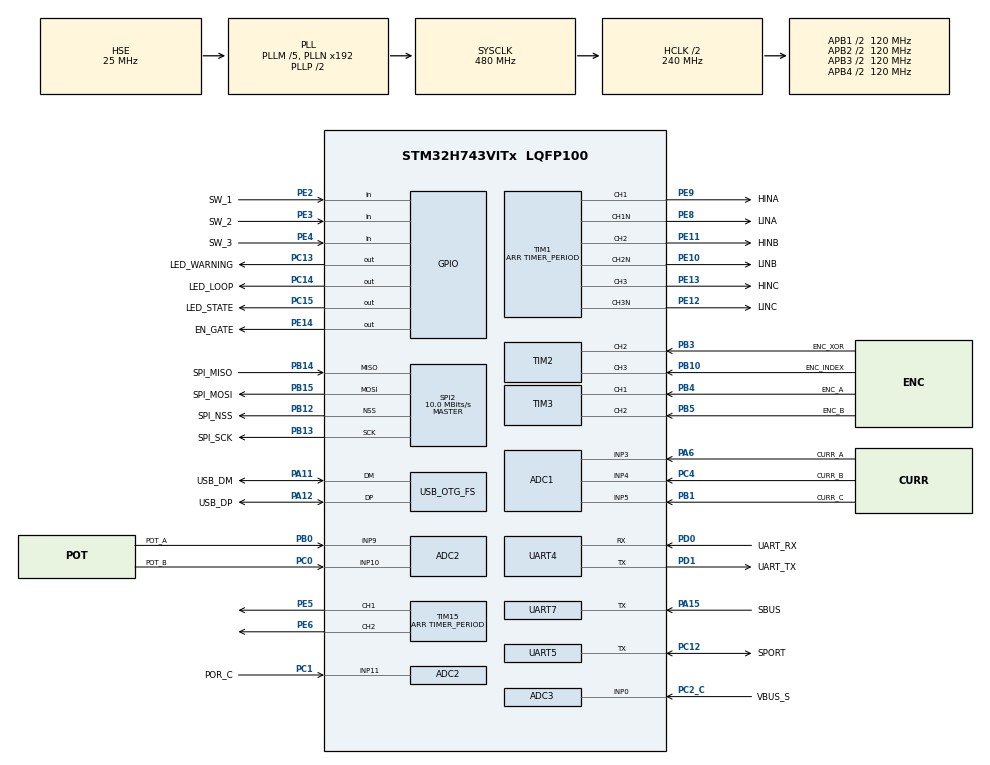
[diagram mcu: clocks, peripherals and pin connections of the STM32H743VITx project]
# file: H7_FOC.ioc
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ADC1.EnableInjectedConversion=ENABLE
ADC1.EnableRegularConversion=DISABLE
ADC1.ExternalTrigInjecConv=ADC_EXTERNALTRIGINJEC_T15_TRGO
ADC1.ExternalTrigInjecConvEdge=ADC_EXTERNALTRIGINJECCONV_EDGE_RISINGFALLING
ADC1.InjNumberOfConversion=2
ADC1.InjectedChannel-1\#ChannelInjectedConversion=ADC_CHANNEL_5
ADC1.InjectedChannel-2\#ChannelInjectedConversion=ADC_CHANNEL_4
ADC1.InjectedOffsetNumber-1\#ChannelInjectedConversion=ADC_OFFSET_NONE
ADC1.InjectedOffsetNumber-2\#ChannelInjectedConversion=ADC_OFFSET_NONE
ADC1.InjectedOffsetSaturation-1\#ChannelInjectedConversion=DISABLE
ADC1.InjectedOffsetSaturation-2\#ChannelInjectedConversion=DISABLE
ADC1.InjectedOffsetSignedSaturation-1\#ChannelInjectedConversion=DISABLE
ADC1.InjectedOffsetSignedSaturation-2\#ChannelInjectedConversion=DISABLE
ADC1.InjectedRank-1\#ChannelInjectedConversion=1
ADC1.InjectedRank-2\#ChannelInjectedConversion=2
ADC1.InjectedSamplingTime-1\#ChannelInjectedConversion=ADC_SAMPLETIME_2CYCLES_5
ADC1.InjectedSamplingTime-2\#ChannelInjectedConversion=ADC_SAMPLETIME_2CYCLES_5
ADC1.master=1
ADC2.Channel-0\#ChannelRegularConversion=ADC_CHANNEL_9
ADC2.Channel-1\#ChannelRegularConversion=ADC_CHANNEL_10
ADC2.Channel-2\#ChannelRegularConversion=ADC_CHANNEL_11
ADC2.ContinuousConvMode=ENABLE
ADC2.ConversionDataManagement=ADC_CONVERSIONDATA_DMA_CIRCULAR
ADC2.NbrOfConversion=3
ADC2.NbrOfConversionFlag=1
ADC2.OffsetNumber-0\#ChannelRegularConversion=ADC_OFFSET_NONE
ADC2.OffsetNumber-1\#ChannelRegularConversion=ADC_OFFSET_NONE
ADC2.OffsetNumber-2\#ChannelRegularConversion=ADC_OFFSET_NONE
ADC2.OffsetSignedSaturation-0\#ChannelRegularConversion=DISABLE
ADC2.OffsetSignedSaturation-1\#ChannelRegularConversion=DISABLE
ADC2.OffsetSignedSaturation-2\#ChannelRegularConversion=DISABLE
ADC2.Rank-0\#ChannelRegularConversion=1
ADC2.Rank-1\#ChannelRegularConversion=2
ADC2.Rank-2\#ChannelRegularConversion=3
ADC2.SamplingTime-0\#ChannelRegularConversion=ADC_SAMPLETIME_32CYCLES_5
ADC2.SamplingTime-1\#ChannelRegularConversion=ADC_SAMPLETIME_32CYCLES_5
ADC2.SamplingTime-2\#ChannelRegularConversion=ADC_SAMPLETIME_32CYCLES_5
ADC3.Channel-0\#ChannelRegularConversion=ADC_CHANNEL_0
ADC3.Channel-1\#ChannelRegularConversion=ADC_CHANNEL_VREFINT
ADC3.Channel-2\#ChannelRegularConversion=ADC_CHANNEL_TEMPSENSOR
ADC3.ContinuousConvMode=ENABLE
ADC3.ConversionDataManagement=ADC_CONVERSIONDATA_DMA_CIRCULAR
ADC3.NbrOfConversion=3
ADC3.NbrOfConversionFlag=1
ADC3.OffsetNumber-0\#ChannelRegularConversion=ADC_OFFSET_NONE
ADC3.OffsetNumber-1\#ChannelRegularConversion=ADC_OFFSET_NONE
ADC3.OffsetNumber-2\#ChannelRegularConversion=ADC_OFFSET_NONE
ADC3.OffsetSignedSaturation-0\#ChannelRegularConversion=DISABLE
ADC3.OffsetSignedSaturation-1\#ChannelRegularConversion=DISABLE
ADC3.OffsetSignedSaturation-2\#ChannelRegularConversion=DISABLE
ADC3.Rank-0\#ChannelRegularConversion=1
ADC3.Rank-1\#ChannelRegularConversion=2
ADC3.Rank-2\#ChannelRegularConversion=3
ADC3.SamplingTime-0\#ChannelRegularConversion=ADC_SAMPLETIME_32CYCLES_5
ADC3.SamplingTime-1\#ChannelRegularConversion=ADC_SAMPLETIME_32CYCLES_5
ADC3.SamplingTime-2\#ChannelRegularConversion=ADC_SAMPLETIME_32CYCLES_5
Bdma.ADC3.0.Direction=DMA_PERIPH_TO_MEMORY
Bdma.ADC3.0.EventEnable=DISABLE
Bdma.ADC3.0.Instance=BDMA_Channel0
Bdma.ADC3.0.MemDataAlignment=DMA_MDATAALIGN_HALFWORD
Bdma.ADC3.0.MemInc=DMA_MINC_ENABLE
Bdma.ADC3.0.Mode=DMA_CIRCULAR
Bdma.ADC3.0.PeriphDataAlignment=DMA_PDATAALIGN_HALFWORD
Bdma.ADC3.0.PeriphInc=DMA_PINC_DISABLE
Bdma.ADC3.0.Polarity=HAL_DMAMUX_REQ_GEN_RISING
Bdma.ADC3.0.Priority=DMA_PRIORITY_HIGH
Bdma.ADC3.0.RequestNumber=1
Bdma.ADC3.0.SignalID=NONE
Bdma.ADC3.0.SyncEnable=DISABLE
Bdma.ADC3.0.SyncPolarity=HAL_DMAMUX_SYNC_NO_EVENT
Bdma.ADC3.0.SyncRequestNumber=1
Bdma.ADC3.0.SyncSignalID=NONE
Bdma.Request0=ADC3
Bdma.RequestsNb=1
CORTEX_M7.AccessPermission_S-Cortex_Memory_Protection_Unit_Region1_Settings_S=MPU_REGION_FULL_ACCESS
CORTEX_M7.AccessPermission_S-Cortex_Memory_Protection_Unit_Region2_Settings_S=MPU_REGION_FULL_ACCESS
CORTEX_M7.AccessPermission_S-Cortex_Memory_Protection_Unit_Region3_Settings_S=MPU_REGION_FULL_ACCESS
CORTEX_M7.AccessPermission_Spec=MPU_REGION_FULL_ACCESS
CORTEX_M7.BaseAddress_S-Cortex_Memory_Protection_Unit_Region1_Settings_S=0x30000000
CORTEX_M7.BaseAddress_S-Cortex_Memory_Protection_Unit_Region2_Settings_S=0x38000000
CORTEX_M7.BaseAddress_S-Cortex_Memory_Protection_Unit_Region3_Settings_S=0x20000000
CORTEX_M7.BaseAddress_Spec=0x24000000
CORTEX_M7.CPU_DCache=Enabled
CORTEX_M7.CPU_ICache=Enabled
CORTEX_M7.DisableExec_S-Cortex_Memory_Protection_Unit_Region1_Settings_S=MPU_INSTRUCTION_ACCESS_DISABLE
CORTEX_M7.DisableExec_S-Cortex_Memory_Protection_Unit_Region2_Settings_S=MPU_INSTRUCTION_ACCESS_DISABLE
CORTEX_M7.Enable_S-Cortex_Memory_Protection_Unit_Region1_Settings_S=MPU_REGION_ENABLE
CORTEX_M7.Enable_S-Cortex_Memory_Protection_Unit_Region2_Settings_S=MPU_REGION_ENABLE
CORTEX_M7.Enable_S-Cortex_Memory_Protection_Unit_Region3_Settings_S=MPU_REGION_ENABLE
CORTEX_M7.IsBufferable_S-Cortex_Memory_Protection_Unit_Region1_Settings_S=MPU_ACCESS_BUFFERABLE
CORTEX_M7.IsBufferable_S-Cortex_Memory_Protection_Unit_Region2_Settings_S=MPU_ACCESS_BUFFERABLE
CORTEX_M7.IsBufferable_S-Cortex_Memory_Protection_Unit_Region3_Settings_S=MPU_ACCESS_BUFFERABLE
CORTEX_M7.IsBufferable_Spec=MPU_ACCESS_BUFFERABLE
CORTEX_M7.IsCacheable_S-Cortex_Memory_Protection_Unit_Region3_Settings_S=MPU_ACCESS_CACHEABLE
CORTEX_M7.IsShareable_S-Cortex_Memory_Protection_Unit_Region1_Settings_S=MPU_ACCESS_SHAREABLE
CORTEX_M7.IsShareable_S-Cortex_Memory_Protection_Unit_Region2_Settings_S=MPU_ACCESS_SHAREABLE
CORTEX_M7.Size_S-Cortex_Memory_Protection_Unit_Region1_Settings_S=MPU_REGION_SIZE_256KB
CORTEX_M7.Size_S-Cortex_Memory_Protection_Unit_Region2_Settings_S=MPU_REGION_SIZE_64KB
CORTEX_M7.Size_S-Cortex_Memory_Protection_Unit_Region3_Settings_S=MPU_REGION_SIZE_128KB
CORTEX_M7.Size_Spec=MPU_REGION_SIZE_512KB
CORTEX_M7.SubRegionDisable_Spec=0x00
CORTEX_M7.default_mode_Activation=1
Dma.ADC2.0.Direction=DMA_PERIPH_TO_MEMORY
Dma.ADC2.0.EventEnable=DISABLE
Dma.ADC2.0.FIFOMode=DMA_FIFOMODE_DISABLE
Dma.ADC2.0.Instance=DMA1_Stream0
Dma.ADC2.0.MemDataAlignment=DMA_MDATAALIGN_HALFWORD
Dma.ADC2.0.MemInc=DMA_MINC_ENABLE
Dma.ADC2.0.Mode=DMA_CIRCULAR
Dma.ADC2.0.PeriphDataAlignment=DMA_PDATAALIGN_HALFWORD
Dma.ADC2.0.PeriphInc=DMA_PINC_DISABLE
Dma.ADC2.0.Polarity=HAL_DMAMUX_REQ_GEN_RISING
Dma.ADC2.0.Priority=DMA_PRIORITY_LOW
Dma.ADC2.0.RequestNumber=1
Dma.ADC2.0.SignalID=NONE
Dma.ADC2.0.SyncEnable=DISABLE
Dma.ADC2.0.SyncPolarity=HAL_DMAMUX_SYNC_NO_EVENT
Dma.ADC2.0.SyncRequestNumber=1
Dma.ADC2.0.SyncSignalID=NONE
Dma.Request0=ADC2
Mcu.Family=STM32H7
Mcu.Name=STM32H743VITx
Mcu.Package=LQFP100
Mcu.UserConstants=START_PERIOD,0;DEAD_TIME,50;TIMER_ADC_CCR,(TIMER_PERIOD - TIMER_ADC_DELTA);TIMER_ADC_DELTA,24;TIMER_PERIOD,5000;INPUT_FILTER,4;TIMER_PRESCALER,0;TIMER_REPETICION_COUNTER,0
NVIC.OTG_FS_IRQn=true\:0\:0\:false\:false\:true\:false\:true\:true
NVIC.PriorityGroup=NVIC_PRIORITYGROUP_4
NVIC.TIM1_UP_IRQn=true\:0\:0\:false\:false\:true\:true\:true\:true
PA11.GPIO_Label=USB_DM
PA11.Mode=Device_Only
PA11.Signal=USB_OTG_FS_DM
PA12.GPIO_Label=USB_DP
PA12.Mode=Device_Only
PA12.Signal=USB_OTG_FS_DP
PA13\ (JTMS/SWDIO).GPIO_Label=SWDIO
PA13\ (JTMS/SWDIO).Mode=Serial_Wire
PA13\ (JTMS/SWDIO).Signal=DEBUG_JTMS-SWDIO
PA14\ (JTCK/SWCLK).GPIO_Label=SWCLK
PA14\ (JTCK/SWCLK).Mode=Serial_Wire
PA14\ (JTCK/SWCLK).Signal=DEBUG_JTCK-SWCLK
PA15\ (JTDI).GPIO_Label=SBUS
PA15\ (JTDI).Mode=Half_duplex(single_wire_mode)
PA15\ (JTDI).Signal=UART7_TX
PA6.GPIO_Label=CURR_A
PA6.Signal=ADCx_INP3
PB0.GPIO_Label=POT_A
PB0.Signal=ADCx_INP9
PB1.GPIO_Label=CURR_C
PB1.Signal=ADCx_INP5
PB10.GPIO_Label=ENC_INDEX
PB10.Signal=S_TIM2_CH3
PB12.GPIO_Label=SPI_NSS
PB12.Mode=NSS_Signal_Hard_Output
PB12.Signal=SPI2_NSS
PB13.GPIO_Label=SPI_SCK
PB13.Mode=Full_Duplex_Master
PB13.Signal=SPI2_SCK
PB14.GPIO_Label=SPI_MISO
PB14.Mode=Full_Duplex_Master
PB14.Signal=SPI2_MISO
PB15.GPIO_Label=SPI_MOSI
PB15.Mode=Full_Duplex_Master
PB15.Signal=SPI2_MOSI
PB3\ (JTDO/TRACESWO).GPIO_Label=ENC_XOR
PB3\ (JTDO/TRACESWO).Signal=S_TIM2_CH2
PB4\ (NJTRST).GPIO_Label=ENC_A
PB4\ (NJTRST).Signal=S_TIM3_CH1
PB5.GPIO_Label=ENC_B
PB5.Signal=S_TIM3_CH2
PC0.GPIO_Label=POT_B
PC0.Signal=ADCx_INP10
PC1.GPIO_Label=POR_C
PC1.Signal=ADCx_INP11
PC12.GPIO_Label=SPORT
PC12.Mode=Half_duplex(single_wire_mode)
PC12.Signal=UART5_TX
PC13.GPIO_Label=LED_WARNING
PC13.Signal=GPIO_Output
PC14-OSC32_IN\ (OSC32_IN).GPIO_Label=LED_LOOP
PC14-OSC32_IN\ (OSC32_IN).Signal=GPIO_Output
PC15-OSC32_OUT\ (OSC32_OUT).GPIO_Label=LED_STATE
PC15-OSC32_OUT\ (OSC32_OUT).Signal=GPIO_Output
PC2_C.GPIO_Label=VBUS_S
PC2_C.Mode=IN0-Single-Ended
PC2_C.Signal=ADC3_INP0
PC4.GPIO_Label=CURR_B
PC4.Signal=ADCx_INP4
PD0.GPIO_Label=UART_RX
PD0.Mode=Asynchronous
PD0.Signal=UART4_RX
PD1.GPIO_Label=UART_TX
PD1.Mode=Asynchronous
PD1.Signal=UART4_TX
PE10.GPIO_Label=LINB
PE10.GPIO_PuPd=GPIO_PULLDOWN
PE10.GPIO_Speed=GPIO_SPEED_FREQ_VERY_HIGH
PE10.Mode=PWM Generation2 CH2 CH2N
PE10.Signal=TIM1_CH2N
PE11.GPIO_Label=HINB
PE11.GPIO_PuPd=GPIO_PULLDOWN
PE11.GPIO_Speed=GPIO_SPEED_FREQ_VERY_HIGH
PE11.Signal=S_TIM1_CH2
PE12.GPIO_Label=LINC
PE12.GPIO_PuPd=GPIO_PULLDOWN
PE12.GPIO_Speed=GPIO_SPEED_FREQ_VERY_HIGH
PE12.Mode=PWM Generation3 CH3 CH3N
PE12.Signal=TIM1_CH3N
PE13.GPIO_Label=HINC
PE13.GPIO_PuPd=GPIO_PULLDOWN
PE13.GPIO_Speed=GPIO_SPEED_FREQ_VERY_HIGH
PE13.Signal=S_TIM1_CH3
PE14.GPIO_Label=EN_GATE
PE14.GPIO_PuPd=GPIO_PULLDOWN
PE14.GPIO_Speed=GPIO_SPEED_FREQ_VERY_HIGH
PE14.Signal=GPIO_Output
PE2.GPIO_Label=SW_1
PE2.Signal=GPIO_Input
PE3.GPIO_Label=SW_2
PE3.Signal=GPIO_Input
PE4.GPIO_Label=SW_3
PE4.Signal=GPIO_Input
PE5.Signal=S_TIM15_CH1
PE6.Signal=S_TIM15_CH2
PE8.GPIO_Label=LINA
PE8.GPIO_PuPd=GPIO_PULLDOWN
PE8.GPIO_Speed=GPIO_SPEED_FREQ_VERY_HIGH
PE8.Mode=PWM Generation1 CH1 CH1N
PE8.Signal=TIM1_CH1N
PE9.GPIO_Label=HINA
PE9.GPIO_PuPd=GPIO_PULLDOWN
PE9.GPIO_Speed=GPIO_SPEED_FREQ_VERY_HIGH
PE9.Signal=S_TIM1_CH1
PH0-OSC_IN\ (PH0).GPIO_Label=OSC_IN
PH0-OSC_IN\ (PH0).Mode=HSE-External-Oscillator
PH0-OSC_IN\ (PH0).Signal=RCC_OSC_IN
PH1-OSC_OUT\ (PH1).GPIO_Label=OSC_OUT
PH1-OSC_OUT\ (PH1).Mode=HSE-External-Oscillator
PH1-OSC_OUT\ (PH1).Signal=RCC_OSC_OUT
ProjectManager.HeapSize=0x200
ProjectManager.StackSize=0x400
ProjectManager.TargetToolchain=Makefile
RCC.ADCFreq_Value=36000000
RCC.APB1Freq_Value=120000000
RCC.APB2Freq_Value=120000000
RCC.APB3Freq_Value=120000000
RCC.APB4Freq_Value=120000000
RCC.CortexFreq_Value=480000000
RCC.D1PPRE=RCC_APB3_DIV2
RCC.D2PPRE1=RCC_APB1_DIV2
RCC.D2PPRE2=RCC_APB2_DIV2
RCC.D3PPRE=RCC_APB4_DIV2
RCC.DIVM1=5
RCC.DIVM2=2
RCC.DIVM3=2
RCC.DIVN1=192
RCC.DIVN2=72
RCC.DIVN3=16
RCC.DIVP2=25
RCC.DIVP3=10
RCC.DIVQ1=20
RCC.DIVQ3=20
RCC.DIVR3=40
RCC.EnbaleCSS=true
RCC.HCLKFreq_Value=240000000
RCC.HPRE=RCC_HCLK_DIV2
RCC.PLLSourceVirtual=RCC_PLLSOURCE_HSE
RCC.SPI123CLockSelection=RCC_SPI123CLKSOURCE_PLL3
RCC.SYSCLKFreq_VALUE=480000000
RCC.SYSCLKSource=RCC_SYSCLKSOURCE_PLLCLK
RCC.USBFreq_Value=48000000
SH.ADCx_INP10.0=ADC2_INP10,IN10-Single-Ended
SH.ADCx_INP11.0=ADC2_INP11,IN11-Single-Ended
SH.ADCx_INP3.0=ADC1_INP3,IN3-Single-Ended
SH.ADCx_INP4.0=ADC1_INP4,IN4-Single-Ended
SH.ADCx_INP5.0=ADC1_INP5,IN5-Single-Ended
SH.ADCx_INP9.0=ADC2_INP9,IN9-Single-Ended
SH.S_TIM15_CH1.0=TIM15_CH1,Output Compare1 CH1
SH.S_TIM15_CH2.0=TIM15_CH2,Output Compare2 CH2
SH.S_TIM1_CH1.0=TIM1_CH1,PWM Generation1 CH1 CH1N
SH.S_TIM1_CH2.0=TIM1_CH2,PWM Generation2 CH2 CH2N
SH.S_TIM1_CH3.0=TIM1_CH3,PWM Generation3 CH3 CH3N
SH.S_TIM2_CH2.0=TIM2_CH2,Input_Capture2_from_TI2
SH.S_TIM2_CH3.0=TIM2_CH3,Input_Capture3_from_TI3
SH.S_TIM3_CH1.0=TIM3_CH1,Encoder_Interface
SH.S_TIM3_CH2.0=TIM3_CH2,Encoder_Interface
SPI2.CalculateBaudRate=10.0 MBits/s
SPI2.DataSize=SPI_DATASIZE_8BIT
SPI2.Direction=SPI_DIRECTION_2LINES
SPI2.Mode=SPI_MODE_MASTER
SPI2.VirtualNSS=VM_NSSHARD
SPI2.VirtualType=VM_MASTER
STMicroelectronics.X-CUBE-ALGOBUILD.1.4.0.LibraryCcDSPOoLibraryJjDSPOoLibrary=true
TIM1.Channel-PWM\ Generation1\ CH1\ CH1N=TIM_CHANNEL_1
TIM1.Channel-PWM\ Generation2\ CH2\ CH2N=TIM_CHANNEL_2
TIM1.Channel-PWM\ Generation3\ CH3\ CH3N=TIM_CHANNEL_3
TIM1.CounterMode=TIM_COUNTERMODE_CENTERALIGNED3
TIM1.DeadTime=DEAD_TIME
TIM1.OCNIdleState_3=TIM_OCNIDLESTATE_RESET
TIM1.OffStateIDLEMode=TIM_OSSI_ENABLE
TIM1.OffStateRunMode=TIM_OSSR_ENABLE
TIM1.Period=TIMER_PERIOD
TIM1.Prescaler=TIMER_PRESCALER
TIM1.Pulse-PWM\ Generation1\ CH1\ CH1N=START_PERIOD
TIM1.Pulse-PWM\ Generation2\ CH2\ CH2N=START_PERIOD
TIM1.Pulse-PWM\ Generation3\ CH3\ CH3N=START_PERIOD
TIM1.RepetitionCounter=TIMER_REPETICION_COUNTER
TIM1.TIM_MasterOutputTrigger=TIM_TRGO_UPDATE
TIM1.TIM_MasterSlaveMode=TIM_MASTERSLAVEMODE_ENABLE
TIM15.Channel-Output\ Compare1\ CH1=TIM_CHANNEL_1
TIM15.Channel-Output\ Compare2\ CH2=TIM_CHANNEL_2
TIM15.OCMode_1=TIM_OCMODE_TOGGLE
TIM15.OCMode_2=TIM_OCMODE_TOGGLE
TIM15.Period=TIMER_PERIOD
TIM15.Prescaler=TIMER_PRESCALER
TIM15.Pulse-Output\ Compare1\ CH1=TIMER_ADC_CCR
TIM15.RepetitionCounter=TIMER_REPETICION_COUNTER
TIM15.TIM_MasterOutputTrigger=TIM_TRGO_OC1
TIM15.TIM_MasterSlaveMode=TIM_MASTERSLAVEMODE_ENABLE
TIM2.Channel-Input_Capture1_from_TRC=TIM_CHANNEL_1
TIM2.Channel-Input_Capture2_from_TI2=TIM_CHANNEL_2
TIM2.Channel-Input_Capture3_from_TI3=TIM_CHANNEL_3
TIM2.ICFilter_CH2=INPUT_FILTER
TIM2.ICFilter_CH3=INPUT_FILTER
TIM2.ICPolarity_CH2=TIM_INPUTCHANNELPOLARITY_BOTHEDGE
TIM3.EncoderMode=TIM_ENCODERMODE_TI12
TIM3.IC1Filter=INPUT_FILTER
TIM3.IC2Filter=INPUT_FILTER
UART5.BaudRate=57600
UART5.DataInvertParam=UART_ADVFEATURE_DATAINV_ENABLE
UART5.RxPinLevelInvertParam=UART_ADVFEATURE_RXINV_ENABLE
UART5.TxPinLevelInvertParam=UART_ADVFEATURE_TXINV_ENABLE
UART7.BaudRate=100000 
UART7.DataInvertParam=UART_ADVFEATURE_DATAINV_ENABLE
UART7.Mode=MODE_RX
UART7.Parity=PARITY_EVEN
UART7.RxPinLevelInvertParam=UART_ADVFEATURE_RXINV_ENABLE
UART7.StopBits=UART_STOPBITS_2
UART7.TxPinLevelInvertParam=UART_ADVFEATURE_TXINV_ENABLE
USB_DEVICE.CLASS_NAME_FS=CDC
USB_DEVICE.USBD_MAX_STR_DESC_SIZ-CDC_FS=2048
USB_DEVICE.VirtualMode-CDC_FS=Cdc
USB_DEVICE.VirtualModeFS=Cdc_FS
USB_OTG_FS.VirtualMode=Device_Only
VP_ADC3_TempSens_Input.Mode=IN-TempSens
VP_ADC3_Vref_Input.Mode=IN-Vrefint
VP_MEMORYMAP_VS_MEMORYMAP.Mode=CurAppReg
VP_STMicroelectronics.X-CUBE-ALGOBUILD_VS_DSPOoLibraryJjLibrary_1.4.0_1.4.0.Mode=DSPOoLibraryJjLibrary
VP_TIM15_VS_ClockSourceINT.Mode=Internal
VP_TIM15_VS_ClockSourceITR.Mode=TriggerSource_ITR0
VP_TIM15_VS_ControllerModeCombinedResetTrigger.Mode=Combined_Reset_Trigger_Mode
VP_TIM1_VS_ClockSourceINT.Mode=Internal
VP_TIM2_VS_CH1.Mode=Input_Capture1_from_TRC
VP_TIM2_VS_ClockSourceINT.Mode=Internal
VP_TIM2_VS_ClockSourceITR.Mode=TriggerSource_ITR0
VP_USB_DEVICE_VS_USB_DEVICE_CDC_FS.Mode=CDC_FS
VP_VREFBUF_V_VREFBUF.Mode=ExternalMode
board=custom

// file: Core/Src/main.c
/* USER CODE BEGIN Header */
/**
 ******************************************************************************
 * @file           : main.c
 * @brief          : Main program body
 ******************************************************************************
 * @attention
 *
 * Copyright (c) 2024 STMicroelectronics.
 * All rights reserved.
 *
 * This software is licensed under terms that can be found in the LICENSE file
 * in the root directory of this software component.
 * If no LICENSE file comes with this software, it is provided AS-IS.
 *
 ******************************************************************************
 */
/* USER CODE END Header */
#include "main.h"
#include "adc.h"
#include "bdma.h"
#include "dma.h"
#include "memorymap.h"
#include "spi.h"
#include "tim.h"
#include "usart.h"
#include "usb_device.h"
#include "gpio.h"

/* USER CODE BEGIN Includes */
#include <stdio.h>
#include <stdint.h>

#include "usbd_cdc_if.h"
#include "arm_math.h"

#include "state_machine.h"

#include "board.h"
#include "util.h"
#include "FOC.h"
#include "PID.h"
#include "debug.h"

#include "encoder.h"
#include "current.h"

/* USER CODE END Includes */

/* USER CODE BEGIN PV */

SM_t SM = {0};
tick_t TIMER_TICK = {0};
EncoderSystem ENCODER = {0};
CurrentSystem CURRENT = {0};
float Ibus;

ControllerDQ_t CURRENT_CONTROLLER = {0};
PIController_t VELOCITY_CONTROLLER = {0};
// PIDController_t VELOCITY_CONTROLLER = {0};

SVM_data_t SVM = {0};
bool PWM_EN = false;

uint16_t ADC2_DMA[ADC2_DMA_SAMPLES] __ATTR_RAM_D2 = {0};
uint16_t ADC3_DMA[ADC3_DMA_SAMPLES] __ATTR_RAM_D3 = {0};

ADCSystem ADC_VBUS = {0};
float Vbus;

ADCSystem ADC_POT_A = {0};
float POT_A = 0.0f;

ADCSystem ADC_POT_B = {0};
float POT_B = 0.0f;

ADCSystem ADC_POT_C = {0};
float POT_C = 0.0f;

ButtonDebounce_t SW1 = {0};
ButtonDebounce_t SW2 = {0};
ButtonDebounce_t SW3 = {0};

#ifdef EN_DEBUG
debug_data_t debug_data __ATTR_RAM_D1 = {0};
#endif

extern USBD_HandleTypeDef hUsbDeviceFS;
/* USER CODE END PV */

void SystemClock_Config(void);
void PeriphCommonClock_Config(void);
static void MPU_Config(void);
/* USER CODE BEGIN PFP */
void Enable_TIM1_PWM(void);
void Disable_TIM1_PWM(void);
void SM_force_stop(void);
uint8_t USB_Is_Connected(void);
/* USER CODE END PFP */

int main(void)
{

  /* MPU Configuration--------------------------------------------------------*/
  MPU_Config();

  /* Enable the CPU Cache */

  /* Enable I-Cache---------------------------------------------------------*/
  SCB_EnableICache();

  /* Enable D-Cache---------------------------------------------------------*/
  SCB_EnableDCache();

  /* MCU Configuration--------------------------------------------------------*/

  /* Reset of all peripherals, Initializes the Flash interface and the Systick. */
  HAL_Init();

  /* Configure the system clock */
  SystemClock_Config();

  /* Configure the peripherals common clocks */
  PeriphCommonClock_Config();

  /* Initialize all configured peripherals */
  MX_GPIO_Init();
  MX_BDMA_Init();
  MX_DMA_Init();
  MX_TIM1_Init();
  MX_TIM2_Init();
  MX_TIM3_Init();
  MX_ADC1_Init();
  MX_USB_DEVICE_Init();
  MX_ADC3_Init();
  MX_TIM15_Init();
  MX_SPI2_Init();
  MX_UART4_Init();
  MX_UART5_Init();
  MX_UART7_Init();
  MX_ADC2_Init();
  /* USER CODE BEGIN 2 */
  if (USB_Is_Connected())
  {
    HAL_Delay(1000);
    printf("INICIO de configuracion\n");
  }

  setup_ADC(&ADC_VBUS, VBUS_CTO * ADC_VREF, 0.0f, 1000.0f);

  setup_ADC(&ADC_POT_A, 2.0f, 0.5f, 10.0f);
  setup_ADC(&ADC_POT_B, 2.0f, 0.5f, 10.0f);
  setup_ADC(&ADC_POT_C, 2.0f, 0.5f, 10.0f);

  calculate_alpha((float)TIMER_IT_FREC, 8000.0f, &ENCODER.filter_global_theta);
  calculate_alpha((float)TIMER_IT_FREC, 500.0f, &ENCODER.filter_speed);
  calculate_alpha((float)TIMER_IT_FREC, 8000.0f, &ENCODER.filter_acceleration);

  calculate_alpha((float)TIMER_IT_FREC, (float)CURRENT_FILTER_CUT_FREC, &CURRENT.phase_A.filter);
  calculate_alpha((float)TIMER_IT_FREC, (float)CURRENT_FILTER_CUT_FREC, &CURRENT.phase_B.filter);
  calculate_alpha((float)TIMER_IT_FREC, (float)CURRENT_FILTER_CUT_FREC, &CURRENT.phase_C.filter);

  calculate_alpha((float)TIMER_IT_FREC, (float)CURRENT_FILTER_CUT_FREC, &CURRENT.filter_alpha);
  calculate_alpha((float)TIMER_IT_FREC, (float)CURRENT_FILTER_CUT_FREC, &CURRENT.filter_beta);

  calculate_alpha((float)TIMER_IT_FREC, 800.0f, &CURRENT.filter_d);
  calculate_alpha((float)TIMER_IT_FREC, 800.0f, &CURRENT.filter_q);

  calculate_alpha((float)TIMER_IT_FREC, 8000.0f, &CURRENT.filter_bus);

  SetupControllerDQ(&CURRENT_CONTROLLER, CURRENT_P_GAIN, CURRENT_I_GAIN);
  SetupPIController(&VELOCITY_CONTROLLER, VELOCITY_P_GAIN, VELOCITY_I_GAIN);
  // SetupPIDController(&VELOCITY_CONTROLLER, VELOCITY_P_GAIN, VELOCITY_I_GAIN,VELOCITY_D_GAIN);

  InitButtonDebounce(&SW1, &TIMER_TICK, SW_1_GPIO_Port, SW_1_Pin, ONE_MS_TICK * 20);
  InitButtonDebounce(&SW2, &TIMER_TICK, SW_2_GPIO_Port, SW_2_Pin, ONE_MS_TICK * 20);
  InitButtonDebounce(&SW3, &TIMER_TICK, SW_3_GPIO_Port, SW_3_Pin, ONE_MS_TICK * 20);

  Disable_TIM1_PWM();

  HAL_TIM_PWM_Start(&htim1, TIM_CHANNEL_1);
  HAL_TIMEx_PWMN_Start(&htim1, TIM_CHANNEL_1);
  HAL_TIM_PWM_Start(&htim1, TIM_CHANNEL_2);
  HAL_TIMEx_PWMN_Start(&htim1, TIM_CHANNEL_2);
  HAL_TIM_PWM_Start(&htim1, TIM_CHANNEL_3);
  HAL_TIMEx_PWMN_Start(&htim1, TIM_CHANNEL_3);

  HAL_GPIO_WritePin(EN_GATE_GPIO_Port, EN_GATE_Pin, GPIO_PIN_RESET);

  Disable_TIM1_PWM();

  HAL_TIM_Encoder_Start(&htim3, TIM_CHANNEL_ALL);

  HAL_TIM_OC_Start(&htim2, TIM_CHANNEL_1); // tiempo update TIM1
  HAL_TIM_OC_Start(&htim2, TIM_CHANNEL_2); // está conectado a una compuerta XOR entre los pineas A y B del encoder y registra el tiempo en los cambios del encoder
  HAL_TIM_OC_Start(&htim2, TIM_CHANNEL_3); // tiempo encoder index

  HAL_TIM_OC_Start(&htim15, TIM_CHANNEL_1);
  HAL_TIM_OC_Start(&htim15, TIM_CHANNEL_2);

  HAL_ADCEx_Calibration_Start(&hadc1, ADC_CALIB_OFFSET, ADC_SINGLE_ENDED);
  // HAL_ADCEx_Calibration_Start(&hadc1, ADC_CALIB_OFFSET_LINEARITY, ADC_SINGLE_ENDED);
  HAL_ADCEx_InjectedStart(&hadc1); // medicien de corriente en fase

  HAL_ADCEx_Calibration_Start(&hadc2, ADC_CALIB_OFFSET, ADC_SINGLE_ENDED);
  // HAL_ADCEx_Calibration_Start(&hadc2, ADC_CALIB_OFFSET_LINEARITY, ADC_SINGLE_ENDED);
  HAL_ADC_Start_DMA(&hadc2, (uint32_t *)ADC2_DMA, ADC2_DMA_SAMPLES); // potenciometros

  HAL_ADCEx_Calibration_Start(&hadc3, ADC_CALIB_OFFSET, ADC_SINGLE_ENDED);
  // HAL_ADCEx_Calibration_Start(&hadc3, ADC_CALIB_OFFSET_LINEARITY, ADC_SINGLE_ENDED);
  HAL_ADC_Start_DMA(&hadc3, (uint32_t *)ADC3_DMA, ADC3_DMA_SAMPLES); // voltaje de bus, Vref e IC temp

  SM_clear_task(&SM);
  HAL_Delay(1);
  HAL_TIM_Base_Start_IT(&htim1);

  if (USB_Is_Connected())
    printf("FIN de configuracion\n");

#ifdef EN_DEBUG
  if (USB_Is_Connected())
  {
    printf("Debug Buffer len: %u\n", DEBUG_DATA_LEN);
    printf("Debug Data Size: %u\n", DEBUG_DATA_SIZE);
    printf("Packet Size: %u\n", PACKET_SIZE);
  }
  debug_data.EN_write = false;
  debug_data.EN_read = false;
#endif

  if (USB_Is_Connected())
  {
    printf("\n1/tau: %.10lf\n", CURRENT_FILTER_CUT_FREC);
    printf("P_GAIN: %.10lf\n", CURRENT_P_GAIN);
    printf("I_GAIN: %.10lf\n\n", CURRENT_I_GAIN);
  }

  SM_add_task(&SM, START_SECUENCE);
  HAL_Delay(1);
  SM_wait_IDLE(&SM);
  HAL_Delay(1);

  if (USB_Is_Connected())
  {
    printf("OFFSET_IA: %ld / OFFSET_IB: %ld / OFFSET_IC: %ld / Vbus: %.8f\n", CURRENT.phase_A.OFFSET, CURRENT.phase_B.OFFSET, CURRENT.phase_C.OFFSET, Vbus);
    HAL_Delay(5000);
  }

  /* USER CODE END 2 */

  /* Infinite loop */
  /* USER CODE BEGIN WHILE */
  while (1)
  {

    if (DebounceButton(&SW1) && SM.STATE != IDLE)
    {
      SM_force_stop();

      if (USB_Is_Connected())
        printf("SW1: STOP PWM\n");
    }

    if (DebounceButton(&SW2))
    {
      if (SM.STATE == IDLE)
      {
        //SM_add_task(&SM, START_PWM);

        SM_add_task(&SM, TEST_SVM_SIGNALS);
        // SM_add_task(&SM, TEST_PHASE);
        // SM_add_task(&SM, TEST_ANGLE_OPEN_LOOP);
        // SM_add_task(&SM, TEST_OPEN_LOOP);
        // SM_add_task(&SM, TEST_ENCODER_OPEN_LOOP);
        // SM_add_task(&SM, TEST_CLOSE_LOOP);
        // SM_add_task(&SM, TEST_VELOCITY_CLOSE_LOOP);
        if (USB_Is_Connected())
          printf("SW2: START PWM\n");
      }
#ifdef EN_DEBUG
      else
      {
        if (USB_Is_Connected())
          if (!debug_data.EN_write && !debug_data.EN_read)
          {
            printf("activando debug...\n");
            HAL_Delay(100);
            debug_data.first_index = 0;
            debug_data.last_index = 0;
            debug_data.EN_write = true;
            HAL_Delay(1);
            debug_data.EN_read = true;
          }
      }
#endif
    }

    if (DebounceButton(&SW3))
    {
      if (SM.STATE == IDLE)
      {
        SM_add_task(&SM, CALIB_SECUENCE);
        HAL_Delay(1);
        SM_wait_IDLE(&SM);
        HAL_Delay(100);
        if (USB_Is_Connected())
          printf("Encoder OFFSET: %.9f - Index OFFSER:%ld\n", ENCODER.OFFSET, (int32_t)ENCODER.RAW_BASE_POS);
        // HAL_Delay(5000);
      }
    }

#ifdef EN_DEBUG
    if (debug_data.EN_read)
    {
      debug_data.last_index = (debug_data.last_index + 1) % DEBUG_DATA_LEN;
      if (!debug_data.EN_write && debug_data.last_index == debug_data.first_index)
      {
        debug_data.EN_read = false;
        printf("FIN debug\n");
      }
      else
      {
        send_debug_data(&debug_data);
      }
    }
    else
    {
#endif
      static int64_t last_tick = 0;
      int64_t current_tick = TIMER_TICK.full;
      if (current_tick - last_tick >= ONE_MS_TICK * 100)
      {
        last_tick = current_tick;

        // printf("SM:%2d - encoder:%6.02f - Vbus:%7.03f - POT_A:%6.03f - POT_B:%6.03f - POT_C:%6.03f - I_A:%6.02f - I_B:%6.02f\n", SM.STATE, ENCODER.filter_global_theta.value, Vbus, POT_A, POT_B, POT_C, CURRENT.phase_A.filter.value, CURRENT.phase_B.filter.value);
        // printf("SM:%2d\n", SM.STATE);
        if (USB_Is_Connected())
        {
          switch (SM.STATE)
          {
          case IDLE:
            printf("Vbus:%8.03f - encoder:%8.03f - POT_A:%8.03f - POT_B:%8.03f - POT_C:%8.03f\n", Vbus, ENCODER.filter_global_theta.value, POT_A, POT_B, POT_C);
            break;

          case TEST_OPEN_LOOP:
          case TEST_ANGLE_OPEN_LOOP:
          case TEST_ENCODER_OPEN_LOOP:
            printf("Vbus:%6.02f - I_q:%6.02f - I_d:%6.02f - encoder:%8.03f - speed:%8.02f - SVM_q:%8.03f - SVM_d:%8.03f - SVM_theta:%8.03f - POT_A:%8.03f - POT_B:%8.03f - POT_C:%8.03f\n", Vbus, CURRENT.filter_q.value, CURRENT.filter_d.value, ENCODER.filter_global_theta.value, ENCODER.speed, SVM.Vq, SVM.Vd, SVM.theta / (float)MOTOR_POLE_PAIR, POT_A, POT_B, POT_C);
            break;

          case TEST_CLOSE_LOOP:
            printf("Vbus:%6.02f - I_q:%6.02f - I_d:%6.02f - encoder:%8.03f - speed:%8.02f - CI_q:%8.03f - CI_d:%8.03f\n", Vbus, CURRENT.filter_q.value, CURRENT.filter_d.value, ENCODER.filter_global_theta.value, ENCODER.speed, CURRENT_CONTROLLER.q.set_point, CURRENT_CONTROLLER.d.set_point);
            break;

          case TEST_VELOCITY_CLOSE_LOOP:
            printf("Vbus:%6.02f - I_q:%6.02f - I_d:%6.02f - encoder:%8.03f - speed:%8.02f - RPM:%8d - V_set:%8.03f - CI_q:%8.03f - CI_d:%8.03f\n", Vbus, CURRENT.filter_q.value, CURRENT.filter_d.value, ENCODER.filter_global_theta.value, ENCODER.speed, (int)(ENCODER.speed * 60.0), VELOCITY_CONTROLLER.set_point, CURRENT_CONTROLLER.q.set_point, CURRENT_CONTROLLER.d.set_point);
            break;

          default:
            printf("Vbus:%8.03f - I_A:%8.03f - I_B:%8.03f - I_C:%8.03f - encoder:%8.05f - speed:%8.05f - POT_A:%8.03f - POT_B:%8.03f - POT_C:%8.03f\n", Vbus, CURRENT.phase_A.filter.value, CURRENT.phase_B.filter.value, CURRENT.phase_C.filter.value, ENCODER.filter_global_theta.value, ENCODER.speed, POT_A, POT_B, POT_C);
            break;
          }
        }
      }
#ifdef EN_DEBUG
    }
#endif
    /* USER CODE END WHILE */

  }
}

void SystemClock_Config(void)
{
  RCC_OscInitTypeDef RCC_OscInitStruct = {0};
  RCC_ClkInitTypeDef RCC_ClkInitStruct = {0};

  /** Supply configuration update enable
  */
  HAL_PWREx_ConfigSupply(PWR_LDO_SUPPLY);

  /** Configure the main internal regulator output voltage
  */
  __HAL_PWR_VOLTAGESCALING_CONFIG(PWR_REGULATOR_VOLTAGE_SCALE1);

  while(!__HAL_PWR_GET_FLAG(PWR_FLAG_VOSRDY)) {}

  __HAL_RCC_SYSCFG_CLK_ENABLE();
  __HAL_PWR_VOLTAGESCALING_CONFIG(PWR_REGULATOR_VOLTAGE_SCALE0);

  while(!__HAL_PWR_GET_FLAG(PWR_FLAG_VOSRDY)) {}

  /** Initializes the RCC Oscillators according to the specified parameters
  * in the RCC_OscInitTypeDef structure.
  */
  RCC_OscInitStruct.OscillatorType = RCC_OSCILLATORTYPE_HSE;
  RCC_OscInitStruct.HSEState = RCC_HSE_ON;
  RCC_OscInitStruct.PLL.PLLState = RCC_PLL_ON;
  RCC_OscInitStruct.PLL.PLLSource = RCC_PLLSOURCE_HSE;
  RCC_OscInitStruct.PLL.PLLM = 5;
  RCC_OscInitStruct.PLL.PLLN = 192;
  RCC_OscInitStruct.PLL.PLLP = 2;
  RCC_OscInitStruct.PLL.PLLQ = 20;
  RCC_OscInitStruct.PLL.PLLR = 2;
  RCC_OscInitStruct.PLL.PLLRGE = RCC_PLL1VCIRANGE_2;
  RCC_OscInitStruct.PLL.PLLVCOSEL = RCC_PLL1VCOWIDE;
  RCC_OscInitStruct.PLL.PLLFRACN = 0;
  if (HAL_RCC_OscConfig(&RCC_OscInitStruct) != HAL_OK)
  {
    Error_Handler();
  }

  /** Initializes the CPU, AHB and APB buses clocks
  */
  RCC_ClkInitStruct.ClockType = RCC_CLOCKTYPE_HCLK|RCC_CLOCKTYPE_SYSCLK
                              |RCC_CLOCKTYPE_PCLK1|RCC_CLOCKTYPE_PCLK2
                              |RCC_CLOCKTYPE_D3PCLK1|RCC_CLOCKTYPE_D1PCLK1;
  RCC_ClkInitStruct.SYSCLKSource = RCC_SYSCLKSOURCE_PLLCLK;
  RCC_ClkInitStruct.SYSCLKDivider = RCC_SYSCLK_DIV1;
  RCC_ClkInitStruct.AHBCLKDivider = RCC_HCLK_DIV2;
  RCC_ClkInitStruct.APB3CLKDivider = RCC_APB3_DIV2;
  RCC_ClkInitStruct.APB1CLKDivider = RCC_APB1_DIV2;
  RCC_ClkInitStruct.APB2CLKDivider = RCC_APB2_DIV2;
  RCC_ClkInitStruct.APB4CLKDivider = RCC_APB4_DIV2;

  if (HAL_RCC_ClockConfig(&RCC_ClkInitStruct, FLASH_LATENCY_4) != HAL_OK)
  {
    Error_Handler();
  }

  /** Enables the Clock Security System
  */
  HAL_RCC_EnableCSS();
}

void PeriphCommonClock_Config(void)
{
  RCC_PeriphCLKInitTypeDef PeriphClkInitStruct = {0};

  /** Initializes the peripherals clock
  */
  PeriphClkInitStruct.PeriphClockSelection = RCC_PERIPHCLK_ADC;
  PeriphClkInitStruct.PLL2.PLL2M = 2;
  PeriphClkInitStruct.PLL2.PLL2N = 72;
  PeriphClkInitStruct.PLL2.PLL2P = 25;
  PeriphClkInitStruct.PLL2.PLL2Q = 2;
  PeriphClkInitStruct.PLL2.PLL2R = 2;
  PeriphClkInitStruct.PLL2.PLL2RGE = RCC_PLL2VCIRANGE_3;
  PeriphClkInitStruct.PLL2.PLL2VCOSEL = RCC_PLL2VCOWIDE;
  PeriphClkInitStruct.PLL2.PLL2FRACN = 0;
  PeriphClkInitStruct.AdcClockSelection = RCC_ADCCLKSOURCE_PLL2;
  if (HAL_RCCEx_PeriphCLKConfig(&PeriphClkInitStruct) != HAL_OK)
  {
    Error_Handler();
  }
}

/* USER CODE BEGIN 4 */

void HAL_TIM_PeriodElapsedCallback(TIM_HandleTypeDef *htim)
{
  if (htim->Instance == TIM1)
  {
    HAL_GPIO_WritePin(LED_LOOP_GPIO_Port, LED_LOOP_Pin, GPIO_PIN_SET);

    uint16_t RAW_ENCODER_POS = htim3.Instance->CNT;
    uint32_t RAW_ENCODER_UPDATE_TICK = htim2.Instance->CCR2;
    uint32_t RAW_ENCODER_INDEX_TICK = htim2.Instance->CCR3;
    uint32_t RAW_TIMER_TICK = htim2.Instance->CCR1;

    UPDATE_TIMER_TICK(TIMER_TICK, RAW_TIMER_TICK);

    bool encoder_is_update = UpdateTick(&ENCODER.UPDATE_TICK, RAW_ENCODER_UPDATE_TICK, &TIMER_TICK);
    bool index_is_update = UpdateTick(&ENCODER.INDEX_TICK, RAW_ENCODER_INDEX_TICK, &TIMER_TICK);

    update_encoder(&ENCODER, RAW_ENCODER_POS, TIMER_TICK.full);

    update_ADC(&ADC_VBUS, ADC3_DMA[0]);
    Vbus = ADC_VBUS.filter_value.value;

    update_ADC(&ADC_POT_A, ADC2_DMA[0]);
    POT_A = ABS_min_constrain(ADC_POT_A.filter_value.value, 0.02f);

    update_ADC(&ADC_POT_B, ADC2_DMA[1]);
    POT_B = ABS_min_constrain(ADC_POT_B.filter_value.value, 0.02f);

    update_ADC(&ADC_POT_C, ADC2_DMA[2]);
    POT_C = ABS_min_constrain(ADC_POT_C.filter_value.value, 0.02f);

    uint16_t RAW_A = HAL_ADCEx_InjectedGetValue(&hadc1, ADC_INJECTED_RANK_1);
    uint16_t RAW_B = HAL_ADCEx_InjectedGetValue(&hadc1, ADC_INJECTED_RANK_2);
    update_current_sensor(&CURRENT, RAW_A, RAW_B, SVM.theta);
    Ibus = CURRENT.filter_bus.value;

    if ((Vbus <= 10.0f && SM.STATE != TEST_SVM_SIGNALS) && (SVM.EN || PWM_EN))
    {
      SM_force_stop();
    }

    if (SM.STATE == IDLE && !SM_is_empty(&SM))
    {
      SM_update_task(&SM);
    }

    if (!__HAL_TIM_IS_TIM_COUNTING_DOWN(&htim1))
    {
      HAL_GPIO_WritePin(LED_WARNING_GPIO_Port, LED_WARNING_Pin, GPIO_PIN_RESET);

      static uint64_t UTIL_SM_TIME = 0;
      switch (SM.STATE)
      {
      case IDLE:
        if (PWM_EN)
        {
          SM_force_stop();
        }
        break;

      case START_PWM:
      {
        static bool start_flag = false;
        static int start_wait_count = 0;
        if (!start_flag)
        {
          htim1.Instance->CCR1 = 0;
          htim1.Instance->CCR2 = 0;
          htim1.Instance->CCR3 = 0;

          Enable_TIM1_PWM();

          start_flag = true;
          start_wait_count = 10;

          PWM_EN = false;
          SVM.EN = false;
        }
        else
        {
          start_wait_count--;

          if (start_wait_count <= 0)
          {
            ResetPIController(&VELOCITY_CONTROLLER);
            ResetControllerDQ(&CURRENT_CONTROLLER);
            start_flag = false;
            PWM_EN = true;
            SM_update_task(&SM);
          }
          else if (start_wait_count <= 2)
          {
            HAL_GPIO_WritePin(EN_GATE_GPIO_Port, EN_GATE_Pin, GPIO_PIN_SET);
          }
        }
        break;
      }

      case STOP_PWM:
      {
        static bool stop_flag = false;
        static int stop_wait_count = 0;
        if (!stop_flag)
        {
          htim1.Instance->CCR1 = 0;
          htim1.Instance->CCR2 = 0;
          htim1.Instance->CCR3 = 0;

          stop_flag = true;
          stop_wait_count = 10;

          PWM_EN = false;
          SVM.EN = false;
        }
        else
        {
          stop_wait_count--;

          if (stop_wait_count <= 0)
          {
            stop_flag = false;
            Disable_TIM1_PWM();
            SM_update_task(&SM);
          }
          else if (stop_wait_count <= 2)
          {
            HAL_GPIO_WritePin(EN_GATE_GPIO_Port, EN_GATE_Pin, GPIO_PIN_RESET);
          }
        }
        break;
      }

      case START_SECUENCE:
        // SM_add_task(&SM, START_PWM);
        SM_add_task(&SM, ADC_OFFSET_CALIB);
        // SM_add_task(&SM, STOP_PWM);

        UTIL_SM_TIME = TIMER_TICK.full;

        SM_update_task(&SM);
        break;

      case ADC_OFFSET_CALIB:
        update_current_offset(&CURRENT, RAW_A, RAW_B, false);

        if (TIMER_TICK.full - UTIL_SM_TIME >= ONE_MS_TICK * 50)
        {
          update_current_offset(&CURRENT, RAW_A, RAW_B, true);
          UTIL_SM_TIME = TIMER_TICK.full;
          SM_update_task(&SM);
        }
        break;

      case CALIB_SECUENCE:
        SM_add_task(&SM, START_PWM);
        SM_add_task(&SM, GO_INDEX);

#ifndef OFFSET_HOME
        SM_add_task(&SM, OFFSET_CALIB);
        ENCODER.OFFSET = 0.0f;
#endif

        SM_add_task(&SM, STOP_PWM);

        SVM.Vq = 0.0f;
        SVM.Vd = 0.0f;
        SVM.DIR = 1;
        SVM.EN = false;

        if (ENCODER.OFFSET == 0.0f)
          SVM.theta = 0.0f;
        else
          SVM.theta = ENCODER.electric_theta;

        UTIL_SM_TIME = TIMER_TICK.full;

        SM_update_task(&SM);
        break;

      case GO_INDEX:
        SVM.EN = true;
        SVM.Vq = CALIB_VOLTAGE_q;
        SVM.Vd = CALIB_VOLTAGE_d;
        if (index_is_update)
        {
          update_index_offset(&ENCODER);

          UTIL_SM_TIME = TIMER_TICK.full;

#ifdef OFFSET_HOME
          ENCODER.OFFSET = OFFSET_HOME;
#else
          SVM.theta = 0.0f;
          SVM.DIR = 1;
#endif

          SM_update_task(&SM);
        }
        else
        {
          SVM.theta += CALIB_ELECTRIC_SPEED * (float)TIMER_IT_PERIOD * TIMER_TIME_PERIOD;
        }
        break;

      case OFFSET_CALIB:
      {
        if (encoder_is_update && ((SVM.DIR && ENCODER.speed > CALIB_SPEED * 0.95f && ENCODER.speed < CALIB_SPEED * 1.05f) || (!SVM.DIR && ENCODER.speed < CALIB_SPEED * 0.95f && ENCODER.speed > -CALIB_SPEED * 1.05f)))
        {
          update_encoder_offset(&ENCODER, SVM.theta, SVM.DIR, false);
        }

        if (SVM.DIR && ENCODER.global_theta >= 1.0f)
        {
          SVM.DIR = 0;
        }
        else if (!SVM.DIR && ENCODER.global_theta <= 0.0f)
        {
          update_encoder_offset(&ENCODER, SVM.theta, SVM.DIR, true);
          SM_update_task(&SM);
        }

        SVM.EN = true;
        SVM.Vq = CALIB_VOLTAGE_q;
        SVM.Vd = CALIB_VOLTAGE_d;

        SVM.theta += (SVM.DIR ? CALIB_ELECTRIC_SPEED : -CALIB_ELECTRIC_SPEED) * (float)TIMER_IT_PERIOD * TIMER_TIME_PERIOD;
        break;
      }
      case TEST_SVM_SIGNALS:
      {
        if (PWM_EN)
        {
          SVM.theta = SVM.theta + (15.0f / 360.0f);
          if(SVM.theta >= 1.0f)
            SVM.theta = 0.0f;

          SVM.Vq = 1.0f;
          SVM.Vd = 0.0;

          InverseParkAndSVM(&SVM, 2.0);
        }
        else
        {
          HAL_GPIO_WritePin(EN_GATE_GPIO_Port, EN_GATE_Pin, GPIO_PIN_RESET);
          Enable_TIM1_PWM();
          PWM_EN = 1;
          SVM.EN = 0;
        }
        break;
      }

      case TEST_PHASE:
        SVM.EN = false;
        SVM.tA = 0.5f;
        SVM.tB = 0.5f;
        SVM.tC = 0.5f;

        float set_V = POT_A;
        float set_time = (set_V / Vbus) / 2.0f;
        // float set_time = POT_A / 2.0f;

        SVM.tA -= set_time;
        SVM.tB += set_time;
        SVM.tC -= set_time;
        break;

      case TEST_ANGLE_OPEN_LOOP:
      {
        SVM.EN = true;

        SVM.theta = POT_C * (float)MOTOR_POLE_PAIR;

        SVM.Vq = POT_A * 5.0f;
        SVM.Vd = POT_B * 5.0f;

        break;
      }

      case TEST_OPEN_LOOP:
      {
        SVM.EN = true;

        SVM.theta += POT_C * 100.0 * (float)TIMER_IT_PERIOD * TIMER_TIME_PERIOD * (float)MOTOR_POLE_PAIR;
        SVM.theta = circular_constrain(SVM.theta);

        SVM.Vq = POT_A * 5.0f;
        SVM.Vd = POT_B * 5.0f;

        break;
      }

      case TEST_ENCODER_OPEN_LOOP:
      {
        SVM.EN = true;

        if (debug_data.EN_read)
        {
          // SVM.Vq = POT_A * 10.0f;
          // SVM.Vd = POT_B * 10.0f;
          SVM.Vq = 1.0f;
          SVM.Vd = 0.0f;
        }
        else
        {
          SVM.Vq = 0.0f;
          SVM.Vd = 0.0f;
        }

        if ((SVM.Vq > 0.0f && ENCODER.speed > 0.0f) || (SVM.Vq < 0.0f && ENCODER.speed < 0.0f))
        {
          int64_t dt = (TIMER_TICK.full + TIMER_IT_PERIOD * 3) - ENCODER.UPDATE_TICK.full;
          float dt_time = (float)dt * TIMER_TIME_PERIOD;
          SVM.theta = (ENCODER.theta + (ENCODER.speed * dt_time)) * (float)MOTOR_POLE_PAIR;
          SVM.theta = circular_constrain(SVM.theta);
        }
        else
        {
          SVM.theta = ENCODER.theta * (float)MOTOR_POLE_PAIR;
        }

        break;
      }
      case TEST_CLOSE_LOOP:
      {
        SVM.EN = true;

        UpdateControllerDQ(&CURRENT_CONTROLLER, &CURRENT, POT_B * 4.0f, POT_A * 4.0f, Vbus);

        if ((CURRENT_CONTROLLER.q.set_point > 0.0f && ENCODER.speed > 0.0f) || (CURRENT_CONTROLLER.q.set_point < 0.0f && ENCODER.speed < 0.0f))
        {
          int64_t dt = (TIMER_TICK.full + TIMER_IT_PERIOD * 3) - ENCODER.UPDATE_TICK.full;
          double dt_time = (double)dt * TIMER_TIME_PERIOD;
          SVM.theta = (ENCODER.theta + (ENCODER.speed * dt_time)) * (float)MOTOR_POLE_PAIR;
        }
        else
        {
          SVM.theta = ENCODER.theta * (float)MOTOR_POLE_PAIR;
        }

        SVM.theta = circular_constrain(SVM.theta);

        SVM.Vd = CURRENT_CONTROLLER.d.output;
        SVM.Vq = CURRENT_CONTROLLER.q.output;
        break;
      }
      case TEST_VELOCITY_CLOSE_LOOP:
      {
        SVM.EN = true;

        UpdatePIController(&VELOCITY_CONTROLLER, POT_A * 200.0f + POT_B * 5.0, ENCODER.filter_speed.value, VELOCITY_MAX_CURRENT);
        UpdateControllerDQ(&CURRENT_CONTROLLER, &CURRENT, POT_C * 4.0f, VELOCITY_CONTROLLER.output, Vbus);

        if ((VELOCITY_CONTROLLER.set_point > 0.0f && ENCODER.speed > 0.0f) || (VELOCITY_CONTROLLER.set_point < 0.0f && ENCODER.speed < 0.0f))
        {
          int64_t dt = (TIMER_TICK.full + TIMER_IT_PERIOD * 6) - ENCODER.UPDATE_TICK.full;
          double dt_time = (double)dt * TIMER_TIME_PERIOD;
          SVM.theta = (ENCODER.theta + (ENCODER.speed * dt_time)) * (float)MOTOR_POLE_PAIR;
        }
        else
        {
          SVM.theta = ENCODER.theta * (float)MOTOR_POLE_PAIR;
        }

        SVM.theta = circular_constrain(SVM.theta);

        SVM.Vd = CURRENT_CONTROLLER.d.output;
        SVM.Vq = CURRENT_CONTROLLER.q.output;
        break;
      }

      default:
        SM_force_stop();
        break;
      }

      if (SVM.EN && PWM_EN)
        InverseParkAndSVM(&SVM, Vbus);

      if (PWM_EN)
      {
        if (InRange(SVM.tA) && InRange(SVM.tB) && InRange(SVM.tC))
        {
#ifdef SWAP_AC
          htim1.Instance->CCR3 = SVM.tA * TIMER_PERIOD;
          htim1.Instance->CCR2 = SVM.tB * TIMER_PERIOD;
          htim1.Instance->CCR1 = SVM.tC * TIMER_PERIOD;
#else
          htim1.Instance->CCR1 = SVM.tA * TIMER_PERIOD;
          htim1.Instance->CCR2 = SVM.tB * TIMER_PERIOD;
          htim1.Instance->CCR3 = SVM.tC * TIMER_PERIOD;
#endif
        }
        else
          SM_force_stop();
      }

#ifdef EN_DEBUG

      if (debug_data.EN_write)
      {
        debug_data.first_index = (debug_data.first_index + 1) % DEBUG_DATA_LEN;
        if (debug_data.first_index == debug_data.last_index)
        {
          debug_data.EN_write = false;
        }
        else
        {
          add_debug_data(
              &debug_data,
              &TIMER_TICK,
              &ENCODER,
              &CURRENT,
              &CURRENT_CONTROLLER,
              &VELOCITY_CONTROLLER,
              &SVM,
              &Vbus);
        }
      }
#endif
    }
    else{
      HAL_GPIO_WritePin(LED_WARNING_GPIO_Port, LED_WARNING_Pin, GPIO_PIN_SET);
    }

    HAL_GPIO_WritePin(LED_LOOP_GPIO_Port, LED_LOOP_Pin, GPIO_PIN_RESET);
  }
}

void Enable_TIM1_PWM(void)
{
  TIM1->CCER |= (TIM_CCER_CC1E | TIM_CCER_CC1NE | TIM_CCER_CC2E | TIM_CCER_CC2NE | TIM_CCER_CC3E | TIM_CCER_CC3NE);
}

void Disable_TIM1_PWM(void)
{
  TIM1->CCER &= ~(TIM_CCER_CC1E | TIM_CCER_CC1NE | TIM_CCER_CC2E | TIM_CCER_CC2NE | TIM_CCER_CC3E | TIM_CCER_CC3NE);
}

void SM_force_stop()
{
  SM_clear_task(&SM);
  SM.STATE = STOP_PWM;
}

uint8_t USB_Is_Connected(void)
{
  // Verifica si el estado del dispositivo es configurado
  return (hUsbDeviceFS.dev_state == USBD_STATE_CONFIGURED);
}

int _write(int file, char *ptr, int len)
{
  static uint8_t rc = USBD_OK;
  do
  {
    rc = CDC_Transmit_FS((uint8_t *)ptr, len);
  } while (USBD_BUSY == rc);

  return len;
}

/* USER CODE END 4 */

 /* MPU Configuration */

void MPU_Config(void)
{
  MPU_Region_InitTypeDef MPU_InitStruct = {0};

  /* Disables the MPU */
  HAL_MPU_Disable();

  /** Initializes and configures the Region and the memory to be protected
  */
  MPU_InitStruct.Enable = MPU_REGION_ENABLE;
  MPU_InitStruct.Number = MPU_REGION_NUMBER0;
  MPU_InitStruct.BaseAddress = 0x24000000;
  MPU_InitStruct.Size = MPU_REGION_SIZE_512KB;
  MPU_InitStruct.SubRegionDisable = 0x00;
  MPU_InitStruct.TypeExtField = MPU_TEX_LEVEL0;
  MPU_InitStruct.AccessPermission = MPU_REGION_FULL_ACCESS;
  MPU_InitStruct.DisableExec = MPU_INSTRUCTION_ACCESS_DISABLE;
  MPU_InitStruct.IsShareable = MPU_ACCESS_SHAREABLE;
  MPU_InitStruct.IsCacheable = MPU_ACCESS_NOT_CACHEABLE;
  MPU_InitStruct.IsBufferable = MPU_ACCESS_BUFFERABLE;

  HAL_MPU_ConfigRegion(&MPU_InitStruct);

  /** Initializes and configures the Region and the memory to be protected
  */
  MPU_InitStruct.Number = MPU_REGION_NUMBER1;
  MPU_InitStruct.BaseAddress = 0x30000000;
  MPU_InitStruct.Size = MPU_REGION_SIZE_256KB;
  MPU_InitStruct.SubRegionDisable = 0x0;

  HAL_MPU_ConfigRegion(&MPU_InitStruct);

  /** Initializes and configures the Region and the memory to be protected
  */
  MPU_InitStruct.Number = MPU_REGION_NUMBER2;
  MPU_InitStruct.BaseAddress = 0x38000000;
  MPU_InitStruct.Size = MPU_REGION_SIZE_64KB;

  HAL_MPU_ConfigRegion(&MPU_InitStruct);

  /** Initializes and configures the Region and the memory to be protected
  */
  MPU_InitStruct.Number = MPU_REGION_NUMBER3;
  MPU_InitStruct.BaseAddress = 0x20000000;
  MPU_InitStruct.Size = MPU_REGION_SIZE_128KB;
  MPU_InitStruct.DisableExec = MPU_INSTRUCTION_ACCESS_ENABLE;
  MPU_InitStruct.IsShareable = MPU_ACCESS_NOT_SHAREABLE;
  MPU_InitStruct.IsCacheable = MPU_ACCESS_CACHEABLE;

  HAL_MPU_ConfigRegion(&MPU_InitStruct);
  /* Enables the MPU */
  HAL_MPU_Enable(MPU_PRIVILEGED_DEFAULT);

}

void Error_Handler(void)
{
  __disable_irq();
  while (1)
  {
  }
}
